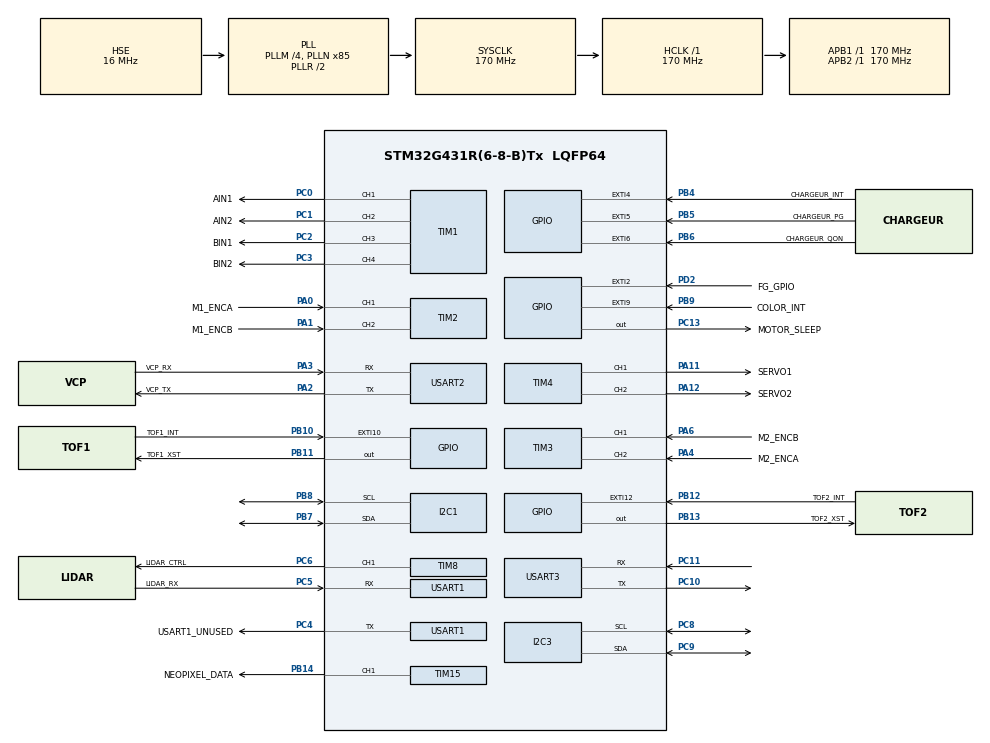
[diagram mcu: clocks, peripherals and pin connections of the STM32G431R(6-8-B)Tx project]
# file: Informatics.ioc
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Dma.Request0=TIM15_CH1
Dma.TIM15_CH1.0.Direction=DMA_MEMORY_TO_PERIPH
Dma.TIM15_CH1.0.EventEnable=DISABLE
Dma.TIM15_CH1.0.Instance=DMA1_Channel1
Dma.TIM15_CH1.0.MemDataAlignment=DMA_MDATAALIGN_HALFWORD
Dma.TIM15_CH1.0.MemInc=DMA_MINC_ENABLE
Dma.TIM15_CH1.0.Mode=DMA_NORMAL
Dma.TIM15_CH1.0.PeriphDataAlignment=DMA_PDATAALIGN_HALFWORD
Dma.TIM15_CH1.0.PeriphInc=DMA_PINC_DISABLE
Dma.TIM15_CH1.0.Polarity=HAL_DMAMUX_REQ_GEN_RISING
Dma.TIM15_CH1.0.Priority=DMA_PRIORITY_LOW
Dma.TIM15_CH1.0.RequestNumber=1
Dma.TIM15_CH1.0.SignalID=NONE
Dma.TIM15_CH1.0.SyncEnable=DISABLE
Dma.TIM15_CH1.0.SyncPolarity=HAL_DMAMUX_SYNC_NO_EVENT
Dma.TIM15_CH1.0.SyncRequestNumber=1
Dma.TIM15_CH1.0.SyncSignalID=NONE
FREERTOS.Tasks01=defaultTask,0,128,StartDefaultTask,Default,NULL,Dynamic,NULL,NULL
FREERTOS.configCHECK_FOR_STACK_OVERFLOW=2
FREERTOS.configTOTAL_HEAP_SIZE=15360
FREERTOS.configUSE_MALLOC_FAILED_HOOK=1
I2C1.Timing=0x40B285C2
I2C3.Timing=0x40B285C2
Mcu.Family=STM32G4
Mcu.Name=STM32G431R(6-8-B)Tx
Mcu.Package=LQFP64
NVIC.DMA1_Channel1_IRQn=true\:5\:0\:false\:false\:true\:true\:false\:true\:true
NVIC.PriorityGroup=NVIC_PRIORITYGROUP_4
NVIC.TIM6_DAC_IRQn=true\:15\:0\:false\:false\:true\:false\:false\:true\:true
NVIC.TimeBase=TIM6_DAC_IRQn
NVIC.TimeBaseIP=TIM6
NVIC.USART2_IRQn=true\:5\:0\:false\:false\:true\:true\:true\:true\:true
PA0.GPIO_Label=M1_ENCA
PA0.Signal=S_TIM2_CH1
PA1.GPIO_Label=M1_ENCB
PA1.Signal=S_TIM2_CH2
PA11.GPIO_Label=SERVO1
PA11.Signal=S_TIM4_CH1
PA12.GPIO_Label=SERVO2
PA12.Signal=S_TIM4_CH2
PA13.Mode=Trace_Asynchronous_SW
PA13.Signal=SYS_JTMS-SWDIO
PA14.Mode=Trace_Asynchronous_SW
PA14.Signal=SYS_JTCK-SWCLK
PA2.GPIO_Label=VCP_TX
PA2.Mode=Asynchronous
PA2.Signal=USART2_TX
PA3.GPIO_Label=VCP_RX
PA3.Mode=Asynchronous
PA3.Signal=USART2_RX
PA4.GPIO_Label=M2_ENCA
PA4.Signal=S_TIM3_CH2
PA6.GPIO_Label=M2_ENCB
PA6.Signal=S_TIM3_CH1
PB10.GPIO_Label=TOF1_INT
PB10.Signal=GPXTI10
PB11.GPIO_Label=TOF1_XST
PB11.Signal=GPIO_Output
PB12.GPIO_Label=TOF2_INT
PB12.Signal=GPXTI12
PB13.GPIO_Label=TOF2_XST
PB13.Signal=GPIO_Output
PB14.GPIO_Label=NEOPIXEL_DATA
PB14.Signal=S_TIM15_CH1
PB3.Mode=Trace_Asynchronous_SW
PB3.Signal=SYS_JTDO-SWO
PB4.GPIO_Label=CHARGEUR_INT
PB4.Signal=GPXTI4
PB5.GPIO_Label=CHARGEUR_PG
PB5.Signal=GPXTI5
PB6.GPIO_Label=CHARGEUR_QON
PB6.Signal=GPXTI6
PB7.Mode=I2C
PB7.Signal=I2C1_SDA
PB8-BOOT0.Mode=I2C
PB8-BOOT0.Signal=I2C1_SCL
PB9.GPIO_Label=COLOR_INT
PB9.Signal=GPXTI9
PC0.GPIO_Label=AIN1
PC0.Signal=S_TIM1_CH1
PC1.GPIO_Label=AIN2
PC1.Signal=S_TIM1_CH2
PC10.Mode=Asynchronous
PC10.Signal=USART3_TX
PC11.Mode=Asynchronous
PC11.Signal=USART3_RX
PC13.GPIO_Label=MOTOR_SLEEP
PC13.Signal=GPIO_Output
PC2.GPIO_Label=BIN1
PC2.Signal=S_TIM1_CH3
PC3.GPIO_Label=BIN2
PC3.Signal=S_TIM1_CH4
PC4.GPIO_Label=USART1_UNUSED
PC4.Mode=Asynchronous
PC4.Signal=USART1_TX
PC5.GPIO_Label=LIDAR_RX
PC5.Mode=Asynchronous
PC5.Signal=USART1_RX
PC6.GPIO_Label=LIDAR_CTRL
PC6.Signal=S_TIM8_CH1
PC8.Mode=I2C
PC8.Signal=I2C3_SCL
PC9.Mode=I2C
PC9.Signal=I2C3_SDA
PD2.GPIO_Label=FG_GPIO
PD2.Signal=GPXTI2
PF0-OSC_IN.Mode=HSE-External-Oscillator
PF0-OSC_IN.Signal=RCC_OSC_IN
PF1-OSC_OUT.Mode=HSE-External-Oscillator
PF1-OSC_OUT.Signal=RCC_OSC_OUT
ProjectManager.HeapSize=0x200
ProjectManager.StackSize=0x400
ProjectManager.TargetToolchain=CMake
RCC.ADC12Freq_Value=170000000
RCC.AHBFreq_Value=170000000
RCC.APB1Freq_Value=170000000
RCC.APB1TimFreq_Value=170000000
RCC.APB2Freq_Value=170000000
RCC.APB2TimFreq_Value=170000000
RCC.CortexFreq_Value=170000000
RCC.EXTERNAL_CLOCK_VALUE=12288000
RCC.HCLKFreq_Value=170000000
RCC.HSE_VALUE=16000000
RCC.HSI48_VALUE=48000000
RCC.HSI_VALUE=16000000
RCC.LSE_VALUE=32768
RCC.PLLM=RCC_PLLM_DIV4
RCC.PLLN=85
RCC.PLLSourceVirtual=RCC_PLLSOURCE_HSE
RCC.SYSCLKFreq_VALUE=170000000
RCC.SYSCLKSource=RCC_SYSCLKSOURCE_PLLCLK
RCC.USBFreq_Value=170000000
RCC.VCOOutputFreq_Value=340000000
SH.S_TIM15_CH1.0=TIM15_CH1,PWM Generation1 CH1
SH.S_TIM1_CH1.0=TIM1_CH1,PWM Generation1 CH1
SH.S_TIM1_CH2.0=TIM1_CH2,PWM Generation2 CH2
SH.S_TIM1_CH3.0=TIM1_CH3,PWM Generation3 CH3
SH.S_TIM1_CH4.0=TIM1_CH4,PWM Generation4 CH4
SH.S_TIM2_CH1.0=TIM2_CH1,Encoder_Interface
SH.S_TIM2_CH2.0=TIM2_CH2,Encoder_Interface
SH.S_TIM3_CH1.0=TIM3_CH1,Encoder_Interface
SH.S_TIM3_CH2.0=TIM3_CH2,Encoder_Interface
SH.S_TIM4_CH1.0=TIM4_CH1,PWM Generation1 CH1
SH.S_TIM4_CH2.0=TIM4_CH2,PWM Generation2 CH2
SH.S_TIM8_CH1.0=TIM8_CH1,PWM Generation1 CH1
TIM1.Channel-PWM\ Generation1\ CH1=TIM_CHANNEL_1
TIM1.Channel-PWM\ Generation2\ CH2=TIM_CHANNEL_2
TIM1.Channel-PWM\ Generation3\ CH3=TIM_CHANNEL_3
TIM1.Channel-PWM\ Generation4\ CH4=TIM_CHANNEL_4
TIM15.Channel-PWM\ Generation1\ CH1=TIM_CHANNEL_1
TIM4.Channel-PWM\ Generation1\ CH1=TIM_CHANNEL_1
TIM4.Channel-PWM\ Generation2\ CH2=TIM_CHANNEL_2
TIM8.Channel-PWM\ Generation1\ CH1=TIM_CHANNEL_1
USART1.VirtualMode-Asynchronous=VM_ASYNC
USART2.VirtualMode-Asynchronous=VM_ASYNC
USART3.VirtualMode-Asynchronous=VM_ASYNC
VP_FREERTOS_VS_CMSIS_V1.Mode=CMSIS_V1
VP_SYS_VS_DBSignals.Mode=DisableDeadBatterySignals
VP_SYS_VS_tim6.Mode=TIM6
VP_TIM15_VS_ClockSourceINT.Mode=Internal
VP_TIM1_VS_ClockSourceINT.Mode=Internal
VP_TIM4_VS_ClockSourceINT.Mode=Internal
VP_TIM8_VS_ClockSourceINT.Mode=Internal
board=custom

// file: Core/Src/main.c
/* USER CODE BEGIN Header */
/**
 ******************************************************************************
 * @file           : main.c
 * @brief          : Main program body
 ******************************************************************************
 * @attention
 *
 * Copyright (c) 2026 STMicroelectronics.
 * All rights reserved.
 *
 * This software is licensed under terms that can be found in the LICENSE file
 * in the root directory of this software component.
 * If no LICENSE file comes with this software, it is provided AS-IS.
 *
 ******************************************************************************
 */
/* USER CODE END Header */
#include "main.h"
#include "cmsis_os.h"

/* USER CODE BEGIN Includes */
#include <stdio.h>
#include <stdarg.h>
#include <string.h>
#include "power.h"
#include "battery.h"
#include "motor.h"
#include "uart_console.h"
#include "shell.h"
#include "ota.h"
#include "ota_protocol.h"
/* USER CODE END Includes */

I2C_HandleTypeDef hi2c1;
I2C_HandleTypeDef hi2c3;

TIM_HandleTypeDef htim1;
TIM_HandleTypeDef htim2;
TIM_HandleTypeDef htim3;
TIM_HandleTypeDef htim4;
TIM_HandleTypeDef htim8;
TIM_HandleTypeDef htim15;
DMA_HandleTypeDef hdma_tim15_ch1;

UART_HandleTypeDef huart1;
UART_HandleTypeDef huart2;
UART_HandleTypeDef huart3;

osThreadId defaultTaskHandle;

void SystemClock_Config(void);
static void MX_GPIO_Init(void);
static void MX_DMA_Init(void);
static void MX_I2C1_Init(void);
static void MX_I2C3_Init(void);
static void MX_TIM2_Init(void);
static void MX_TIM3_Init(void);
static void MX_USART1_UART_Init(void);
static void MX_USART2_UART_Init(void);
static void MX_USART3_UART_Init(void);
static void MX_TIM1_Init(void);
static void MX_TIM4_Init(void);
static void MX_TIM8_Init(void);
static void MX_TIM15_Init(void);
void StartDefaultTask(void const * argument);

/* USER CODE BEGIN PFP */
void App_FreeRTOS_Start(void);
/* USER CODE END PFP */

/* USER CODE BEGIN 0 */
static void console_tx_all(const uint8_t *data, uint16_t len)
{
	HAL_UART_Transmit(&huart2, (uint8_t *)data, len, HAL_MAX_DELAY);
	HAL_UART_Transmit(&huart3, (uint8_t *)data, len, HAL_MAX_DELAY);
}

int __io_putchar(int ch)
{
	uint8_t c = (uint8_t)ch;
	console_tx_all(&c, 1);
	return ch;
}

int _write(int file, char *ptr, int len) {
	(void)file;
	if (ptr != NULL && len > 0) {
		console_tx_all((const uint8_t *)ptr, (uint16_t)len);
	}
	return len;
}

void uart3_printf(const char *format, ...)
{
    char buffer[128]; // Ajustez la taille selon la longueur max de vos messages
    va_list args;

    va_start(args, format);
    int len = vsnprintf(buffer, sizeof(buffer), format, args);
    va_end(args);

    if (len > 0) {
        // S'assurer de ne pas dépasser la taille du buffer en cas de troncature
        uint16_t tx_len = (len < sizeof(buffer)) ? len : (sizeof(buffer) - 1);
        HAL_UART_Transmit(&huart3, (uint8_t *)buffer, tx_len, HAL_MAX_DELAY);
    }
}

/* USER CODE END 0 */

int main(void)
{

  /* USER CODE BEGIN 1 */
  SCB->VTOR = OTA_APP_ADDR;
  /* USER CODE END 1 */

  /* MCU Configuration--------------------------------------------------------*/

  /* Reset of all peripherals, Initializes the Flash interface and the Systick. */
  HAL_Init();

  /* Configure the system clock */
  SystemClock_Config();

  /* Initialize all configured peripherals */
  MX_GPIO_Init();
  MX_DMA_Init();
  MX_I2C1_Init();
  MX_I2C3_Init();
  MX_TIM2_Init();
  MX_TIM3_Init();
  MX_USART1_UART_Init();
  MX_USART2_UART_Init();
  MX_USART3_UART_Init();
  MX_TIM1_Init();
  MX_TIM4_Init();
  MX_TIM8_Init();
  MX_TIM15_Init();
  /* USER CODE BEGIN 2 */
  uart3_printf("Salut : %d\r\n", 42);
	// 1. Initialisation du sous-système Power (Chargeur / Boost BQ25896)
	if (!power_init(&hi2c3)) {
		printf("[POWER] Erreur : BQ25896 non detecte sur I2C3\r\n");
	}
	else {
		printf("[POWER] BQ25896 detecte et initialise avec succes !\r\n");

		// Activation de la sortie 5V Boost (OTG)
		if (power_enable_5v_boost()) {
			printf("[POWER] Sortie 5V Boost activee avec succes !\r\n");
			power_print_diagnostics();
		}
		else {
			printf("[POWER] Erreur lors de l'activation du mode Boost 5V\r\n");
		}
	}

	// 2. Initialisation de la Jauge de batterie (Fuel Gauge BQ27220)
	if (!battery_init(&hi2c3)) {
		printf("[BATTERY] Erreur : BQ27220 non detecte sur I2C3\r\n");
	}
	else {
		printf("[BATTERY] BQ27220 detecte et initialise avec succes !\r\n");
		battery_print_diagnostics();
	}
	// 3. Démarrage de la PWM sur PB14 (TIM15 CH1, 1 kHz, rapport cyclique 50%)
	HAL_TIM_PWM_Start(&htim15, TIM_CHANNEL_1);

	__HAL_TIM_SET_AUTORELOAD(&htim1, 8499);   // PWM ~20 kHz
	if (!motor_init(&htim1, &htim2, &htim3)) {
		printf("[MOTOR] Erreur d'initialisation\r\n");
	} else {
		printf("[MOTOR] Moteurs initialises\r\n");
	}
	uart_console_init(&huart2);
	shell_init();
	ota_init(&huart3);
	App_FreeRTOS_Start();
	//	if (power_enable_charge(1000, 1500)) {
	//	    printf("[POWER] Charge de la batterie activee avec succes !\r\n");
	//	    power_print_diagnostics();
	//	} else {
	//	    printf("[POWER] Erreur lors de l'activation de la charge\r\n");
	//	}

  /* USER CODE END 2 */

  /* Create the thread(s) */
  /* definition and creation of defaultTask */
  osThreadDef(defaultTask, StartDefaultTask, osPriorityNormal, 0, 128);
  defaultTaskHandle = osThreadCreate(osThread(defaultTask), NULL);

  /* Start scheduler */
  osKernelStart();

  /* We should never get here as control is now taken by the scheduler */

  /* Infinite loop */
  /* USER CODE BEGIN WHILE */
	while (1)
	{
		//		motor_set_speed(MOTOR_1, 400);
		//		    for (int i = 0; i < 6; i++) { HAL_Delay(500); motor_print_diagnostics(); }
		//
		//		    motor_stop(MOTOR_1);
		//		    HAL_Delay(1000);
		//
		//		    motor_set_speed(MOTOR_1, -400);
		//		    for (int i = 0; i < 6; i++) { HAL_Delay(500); motor_print_diagnostics(); }
		//
		//		    motor_brake(MOTOR_1);
		//		    HAL_Delay(1000);
//		for (int16_t s = 500; s <= 1000; s += 50) {
//			printf("Vitesse = %d\r\n", s);
//			motor_set_speed(MOTOR_1, s);
//			motor_set_speed(MOTOR_2, s);
//			HAL_Delay(2000);
//			motor_print_diagnostics();   // regarde speed_tps : > 0 = le moteur tourne
//		}
//		motor_stop(MOTOR_1);
//		HAL_Delay(2000);
    /* USER CODE END WHILE */

    /* USER CODE BEGIN 3 */
		// Diagnostic périodique toutes les 3 secondes (optionnel)
	}
  /* USER CODE END 3 */
}

void SystemClock_Config(void)
{
  RCC_OscInitTypeDef RCC_OscInitStruct = {0};
  RCC_ClkInitTypeDef RCC_ClkInitStruct = {0};

  /** Configure the main internal regulator output voltage
  */
  HAL_PWREx_ControlVoltageScaling(PWR_REGULATOR_VOLTAGE_SCALE1_BOOST);

  /** Initializes the RCC Oscillators according to the specified parameters
  * in the RCC_OscInitTypeDef structure.
  */
  RCC_OscInitStruct.OscillatorType = RCC_OSCILLATORTYPE_HSE;
  RCC_OscInitStruct.HSEState = RCC_HSE_ON;
  RCC_OscInitStruct.PLL.PLLState = RCC_PLL_ON;
  RCC_OscInitStruct.PLL.PLLSource = RCC_PLLSOURCE_HSE;
  RCC_OscInitStruct.PLL.PLLM = RCC_PLLM_DIV4;
  RCC_OscInitStruct.PLL.PLLN = 85;
  RCC_OscInitStruct.PLL.PLLP = RCC_PLLP_DIV2;
  RCC_OscInitStruct.PLL.PLLQ = RCC_PLLQ_DIV2;
  RCC_OscInitStruct.PLL.PLLR = RCC_PLLR_DIV2;
  if (HAL_RCC_OscConfig(&RCC_OscInitStruct) != HAL_OK)
  {
    Error_Handler();
  }

  /** Initializes the CPU, AHB and APB buses clocks
  */
  RCC_ClkInitStruct.ClockType = RCC_CLOCKTYPE_HCLK|RCC_CLOCKTYPE_SYSCLK
                              |RCC_CLOCKTYPE_PCLK1|RCC_CLOCKTYPE_PCLK2;
  RCC_ClkInitStruct.SYSCLKSource = RCC_SYSCLKSOURCE_PLLCLK;
  RCC_ClkInitStruct.AHBCLKDivider = RCC_SYSCLK_DIV1;
  RCC_ClkInitStruct.APB1CLKDivider = RCC_HCLK_DIV1;
  RCC_ClkInitStruct.APB2CLKDivider = RCC_HCLK_DIV1;

  if (HAL_RCC_ClockConfig(&RCC_ClkInitStruct, FLASH_LATENCY_4) != HAL_OK)
  {
    Error_Handler();
  }
}

static void MX_I2C1_Init(void)
{

  hi2c1.Instance = I2C1;
  hi2c1.Init.Timing = 0x40B285C2;
  hi2c1.Init.OwnAddress1 = 0;
  hi2c1.Init.AddressingMode = I2C_ADDRESSINGMODE_7BIT;
  hi2c1.Init.DualAddressMode = I2C_DUALADDRESS_DISABLE;
  hi2c1.Init.OwnAddress2 = 0;
  hi2c1.Init.OwnAddress2Masks = I2C_OA2_NOMASK;
  hi2c1.Init.GeneralCallMode = I2C_GENERALCALL_DISABLE;
  hi2c1.Init.NoStretchMode = I2C_NOSTRETCH_DISABLE;
  if (HAL_I2C_Init(&hi2c1) != HAL_OK)
  {
    Error_Handler();
  }

  /** Configure Analogue filter
  */
  if (HAL_I2CEx_ConfigAnalogFilter(&hi2c1, I2C_ANALOGFILTER_ENABLE) != HAL_OK)
  {
    Error_Handler();
  }

  /** Configure Digital filter
  */
  if (HAL_I2CEx_ConfigDigitalFilter(&hi2c1, 0) != HAL_OK)
  {
    Error_Handler();
  }

}

static void MX_I2C3_Init(void)
{

  hi2c3.Instance = I2C3;
  hi2c3.Init.Timing = 0x40B285C2;
  hi2c3.Init.OwnAddress1 = 0;
  hi2c3.Init.AddressingMode = I2C_ADDRESSINGMODE_7BIT;
  hi2c3.Init.DualAddressMode = I2C_DUALADDRESS_DISABLE;
  hi2c3.Init.OwnAddress2 = 0;
  hi2c3.Init.OwnAddress2Masks = I2C_OA2_NOMASK;
  hi2c3.Init.GeneralCallMode = I2C_GENERALCALL_DISABLE;
  hi2c3.Init.NoStretchMode = I2C_NOSTRETCH_DISABLE;
  if (HAL_I2C_Init(&hi2c3) != HAL_OK)
  {
    Error_Handler();
  }

  /** Configure Analogue filter
  */
  if (HAL_I2CEx_ConfigAnalogFilter(&hi2c3, I2C_ANALOGFILTER_ENABLE) != HAL_OK)
  {
    Error_Handler();
  }

  /** Configure Digital filter
  */
  if (HAL_I2CEx_ConfigDigitalFilter(&hi2c3, 0) != HAL_OK)
  {
    Error_Handler();
  }

}

static void MX_TIM1_Init(void)
{

  TIM_ClockConfigTypeDef sClockSourceConfig = {0};
  TIM_MasterConfigTypeDef sMasterConfig = {0};
  TIM_OC_InitTypeDef sConfigOC = {0};
  TIM_BreakDeadTimeConfigTypeDef sBreakDeadTimeConfig = {0};

  htim1.Instance = TIM1;
  htim1.Init.Prescaler = 0;
  htim1.Init.CounterMode = TIM_COUNTERMODE_UP;
  htim1.Init.Period = 65535;
  htim1.Init.ClockDivision = TIM_CLOCKDIVISION_DIV1;
  htim1.Init.RepetitionCounter = 0;
  htim1.Init.AutoReloadPreload = TIM_AUTORELOAD_PRELOAD_DISABLE;
  if (HAL_TIM_Base_Init(&htim1) != HAL_OK)
  {
    Error_Handler();
  }
  sClockSourceConfig.ClockSource = TIM_CLOCKSOURCE_INTERNAL;
  if (HAL_TIM_ConfigClockSource(&htim1, &sClockSourceConfig) != HAL_OK)
  {
    Error_Handler();
  }
  if (HAL_TIM_PWM_Init(&htim1) != HAL_OK)
  {
    Error_Handler();
  }
  sMasterConfig.MasterOutputTrigger = TIM_TRGO_RESET;
  sMasterConfig.MasterOutputTrigger2 = TIM_TRGO2_RESET;
  sMasterConfig.MasterSlaveMode = TIM_MASTERSLAVEMODE_DISABLE;
  if (HAL_TIMEx_MasterConfigSynchronization(&htim1, &sMasterConfig) != HAL_OK)
  {
    Error_Handler();
  }
  sConfigOC.OCMode = TIM_OCMODE_PWM1;
  sConfigOC.Pulse = 0;
  sConfigOC.OCPolarity = TIM_OCPOLARITY_HIGH;
  sConfigOC.OCNPolarity = TIM_OCNPOLARITY_HIGH;
  sConfigOC.OCFastMode = TIM_OCFAST_DISABLE;
  sConfigOC.OCIdleState = TIM_OCIDLESTATE_RESET;
  sConfigOC.OCNIdleState = TIM_OCNIDLESTATE_RESET;
  if (HAL_TIM_PWM_ConfigChannel(&htim1, &sConfigOC, TIM_CHANNEL_1) != HAL_OK)
  {
    Error_Handler();
  }
  if (HAL_TIM_PWM_ConfigChannel(&htim1, &sConfigOC, TIM_CHANNEL_2) != HAL_OK)
  {
    Error_Handler();
  }
  if (HAL_TIM_PWM_ConfigChannel(&htim1, &sConfigOC, TIM_CHANNEL_3) != HAL_OK)
  {
    Error_Handler();
  }
  if (HAL_TIM_PWM_ConfigChannel(&htim1, &sConfigOC, TIM_CHANNEL_4) != HAL_OK)
  {
    Error_Handler();
  }
  sBreakDeadTimeConfig.OffStateRunMode = TIM_OSSR_DISABLE;
  sBreakDeadTimeConfig.OffStateIDLEMode = TIM_OSSI_DISABLE;
  sBreakDeadTimeConfig.LockLevel = TIM_LOCKLEVEL_OFF;
  sBreakDeadTimeConfig.DeadTime = 0;
  sBreakDeadTimeConfig.BreakState = TIM_BREAK_DISABLE;
  sBreakDeadTimeConfig.BreakPolarity = TIM_BREAKPOLARITY_HIGH;
  sBreakDeadTimeConfig.BreakFilter = 0;
  sBreakDeadTimeConfig.BreakAFMode = TIM_BREAK_AFMODE_INPUT;
  sBreakDeadTimeConfig.Break2State = TIM_BREAK2_DISABLE;
  sBreakDeadTimeConfig.Break2Polarity = TIM_BREAK2POLARITY_HIGH;
  sBreakDeadTimeConfig.Break2Filter = 0;
  sBreakDeadTimeConfig.Break2AFMode = TIM_BREAK_AFMODE_INPUT;
  sBreakDeadTimeConfig.AutomaticOutput = TIM_AUTOMATICOUTPUT_DISABLE;
  if (HAL_TIMEx_ConfigBreakDeadTime(&htim1, &sBreakDeadTimeConfig) != HAL_OK)
  {
    Error_Handler();
  }
  HAL_TIM_MspPostInit(&htim1);

}

static void MX_TIM2_Init(void)
{

  TIM_Encoder_InitTypeDef sConfig = {0};
  TIM_MasterConfigTypeDef sMasterConfig = {0};

  htim2.Instance = TIM2;
  htim2.Init.Prescaler = 0;
  htim2.Init.CounterMode = TIM_COUNTERMODE_UP;
  htim2.Init.Period = 4294967295;
  htim2.Init.ClockDivision = TIM_CLOCKDIVISION_DIV1;
  htim2.Init.AutoReloadPreload = TIM_AUTORELOAD_PRELOAD_DISABLE;
  sConfig.EncoderMode = TIM_ENCODERMODE_TI1;
  sConfig.IC1Polarity = TIM_ICPOLARITY_RISING;
  sConfig.IC1Selection = TIM_ICSELECTION_DIRECTTI;
  sConfig.IC1Prescaler = TIM_ICPSC_DIV1;
  sConfig.IC1Filter = 0;
  sConfig.IC2Polarity = TIM_ICPOLARITY_RISING;
  sConfig.IC2Selection = TIM_ICSELECTION_DIRECTTI;
  sConfig.IC2Prescaler = TIM_ICPSC_DIV1;
  sConfig.IC2Filter = 0;
  if (HAL_TIM_Encoder_Init(&htim2, &sConfig) != HAL_OK)
  {
    Error_Handler();
  }
  sMasterConfig.MasterOutputTrigger = TIM_TRGO_RESET;
  sMasterConfig.MasterSlaveMode = TIM_MASTERSLAVEMODE_DISABLE;
  if (HAL_TIMEx_MasterConfigSynchronization(&htim2, &sMasterConfig) != HAL_OK)
  {
    Error_Handler();
  }

}

static void MX_TIM3_Init(void)
{

  TIM_Encoder_InitTypeDef sConfig = {0};
  TIM_MasterConfigTypeDef sMasterConfig = {0};

  htim3.Instance = TIM3;
  htim3.Init.Prescaler = 0;
  htim3.Init.CounterMode = TIM_COUNTERMODE_UP;
  htim3.Init.Period = 65535;
  htim3.Init.ClockDivision = TIM_CLOCKDIVISION_DIV1;
  htim3.Init.AutoReloadPreload = TIM_AUTORELOAD_PRELOAD_DISABLE;
  sConfig.EncoderMode = TIM_ENCODERMODE_TI1;
  sConfig.IC1Polarity = TIM_ICPOLARITY_RISING;
  sConfig.IC1Selection = TIM_ICSELECTION_DIRECTTI;
  sConfig.IC1Prescaler = TIM_ICPSC_DIV1;
  sConfig.IC1Filter = 0;
  sConfig.IC2Polarity = TIM_ICPOLARITY_RISING;
  sConfig.IC2Selection = TIM_ICSELECTION_DIRECTTI;
  sConfig.IC2Prescaler = TIM_ICPSC_DIV1;
  sConfig.IC2Filter = 0;
  if (HAL_TIM_Encoder_Init(&htim3, &sConfig) != HAL_OK)
  {
    Error_Handler();
  }
  sMasterConfig.MasterOutputTrigger = TIM_TRGO_RESET;
  sMasterConfig.MasterSlaveMode = TIM_MASTERSLAVEMODE_DISABLE;
  if (HAL_TIMEx_MasterConfigSynchronization(&htim3, &sMasterConfig) != HAL_OK)
  {
    Error_Handler();
  }

}

static void MX_TIM4_Init(void)
{

  TIM_ClockConfigTypeDef sClockSourceConfig = {0};
  TIM_MasterConfigTypeDef sMasterConfig = {0};
  TIM_OC_InitTypeDef sConfigOC = {0};

  htim4.Instance = TIM4;
  htim4.Init.Prescaler = 0;
  htim4.Init.CounterMode = TIM_COUNTERMODE_UP;
  htim4.Init.Period = 65535;
  htim4.Init.ClockDivision = TIM_CLOCKDIVISION_DIV1;
  htim4.Init.AutoReloadPreload = TIM_AUTORELOAD_PRELOAD_DISABLE;
  if (HAL_TIM_Base_Init(&htim4) != HAL_OK)
  {
    Error_Handler();
  }
  sClockSourceConfig.ClockSource = TIM_CLOCKSOURCE_INTERNAL;
  if (HAL_TIM_ConfigClockSource(&htim4, &sClockSourceConfig) != HAL_OK)
  {
    Error_Handler();
  }
  if (HAL_TIM_PWM_Init(&htim4) != HAL_OK)
  {
    Error_Handler();
  }
  sMasterConfig.MasterOutputTrigger = TIM_TRGO_RESET;
  sMasterConfig.MasterSlaveMode = TIM_MASTERSLAVEMODE_DISABLE;
  if (HAL_TIMEx_MasterConfigSynchronization(&htim4, &sMasterConfig) != HAL_OK)
  {
    Error_Handler();
  }
  sConfigOC.OCMode = TIM_OCMODE_PWM1;
  sConfigOC.Pulse = 0;
  sConfigOC.OCPolarity = TIM_OCPOLARITY_HIGH;
  sConfigOC.OCFastMode = TIM_OCFAST_DISABLE;
  if (HAL_TIM_PWM_ConfigChannel(&htim4, &sConfigOC, TIM_CHANNEL_1) != HAL_OK)
  {
    Error_Handler();
  }
  if (HAL_TIM_PWM_ConfigChannel(&htim4, &sConfigOC, TIM_CHANNEL_2) != HAL_OK)
  {
    Error_Handler();
  }
  HAL_TIM_MspPostInit(&htim4);

}

static void MX_TIM8_Init(void)
{

  TIM_ClockConfigTypeDef sClockSourceConfig = {0};
  TIM_MasterConfigTypeDef sMasterConfig = {0};
  TIM_OC_InitTypeDef sConfigOC = {0};
  TIM_BreakDeadTimeConfigTypeDef sBreakDeadTimeConfig = {0};

  htim8.Instance = TIM8;
  htim8.Init.Prescaler = 0;
  htim8.Init.CounterMode = TIM_COUNTERMODE_UP;
  htim8.Init.Period = 65535;
  htim8.Init.ClockDivision = TIM_CLOCKDIVISION_DIV1;
  htim8.Init.RepetitionCounter = 0;
  htim8.Init.AutoReloadPreload = TIM_AUTORELOAD_PRELOAD_DISABLE;
  if (HAL_TIM_Base_Init(&htim8) != HAL_OK)
  {
    Error_Handler();
  }
  sClockSourceConfig.ClockSource = TIM_CLOCKSOURCE_INTERNAL;
  if (HAL_TIM_ConfigClockSource(&htim8, &sClockSourceConfig) != HAL_OK)
  {
    Error_Handler();
  }
  if (HAL_TIM_PWM_Init(&htim8) != HAL_OK)
  {
    Error_Handler();
  }
  sMasterConfig.MasterOutputTrigger = TIM_TRGO_RESET;
  sMasterConfig.MasterOutputTrigger2 = TIM_TRGO2_RESET;
  sMasterConfig.MasterSlaveMode = TIM_MASTERSLAVEMODE_DISABLE;
  if (HAL_TIMEx_MasterConfigSynchronization(&htim8, &sMasterConfig) != HAL_OK)
  {
    Error_Handler();
  }
  sConfigOC.OCMode = TIM_OCMODE_PWM1;
  sConfigOC.Pulse = 0;
  sConfigOC.OCPolarity = TIM_OCPOLARITY_HIGH;
  sConfigOC.OCNPolarity = TIM_OCNPOLARITY_HIGH;
  sConfigOC.OCFastMode = TIM_OCFAST_DISABLE;
  sConfigOC.OCIdleState = TIM_OCIDLESTATE_RESET;
  sConfigOC.OCNIdleState = TIM_OCNIDLESTATE_RESET;
  if (HAL_TIM_PWM_ConfigChannel(&htim8, &sConfigOC, TIM_CHANNEL_1) != HAL_OK)
  {
    Error_Handler();
  }
  sBreakDeadTimeConfig.OffStateRunMode = TIM_OSSR_DISABLE;
  sBreakDeadTimeConfig.OffStateIDLEMode = TIM_OSSI_DISABLE;
  sBreakDeadTimeConfig.LockLevel = TIM_LOCKLEVEL_OFF;
  sBreakDeadTimeConfig.DeadTime = 0;
  sBreakDeadTimeConfig.BreakState = TIM_BREAK_DISABLE;
  sBreakDeadTimeConfig.BreakPolarity = TIM_BREAKPOLARITY_HIGH;
  sBreakDeadTimeConfig.BreakFilter = 0;
  sBreakDeadTimeConfig.BreakAFMode = TIM_BREAK_AFMODE_INPUT;
  sBreakDeadTimeConfig.Break2State = TIM_BREAK2_DISABLE;
  sBreakDeadTimeConfig.Break2Polarity = TIM_BREAK2POLARITY_HIGH;
  sBreakDeadTimeConfig.Break2Filter = 0;
  sBreakDeadTimeConfig.Break2AFMode = TIM_BREAK_AFMODE_INPUT;
  sBreakDeadTimeConfig.AutomaticOutput = TIM_AUTOMATICOUTPUT_DISABLE;
  if (HAL_TIMEx_ConfigBreakDeadTime(&htim8, &sBreakDeadTimeConfig) != HAL_OK)
  {
    Error_Handler();
  }
  HAL_TIM_MspPostInit(&htim8);

}

static void MX_TIM15_Init(void)
{

  TIM_ClockConfigTypeDef sClockSourceConfig = {0};
  TIM_MasterConfigTypeDef sMasterConfig = {0};
  TIM_OC_InitTypeDef sConfigOC = {0};
  TIM_BreakDeadTimeConfigTypeDef sBreakDeadTimeConfig = {0};

  htim15.Instance = TIM15;
  htim15.Init.Prescaler = 0;
  htim15.Init.CounterMode = TIM_COUNTERMODE_UP;
  htim15.Init.Period = 65535;
  htim15.Init.ClockDivision = TIM_CLOCKDIVISION_DIV1;
  htim15.Init.RepetitionCounter = 0;
  htim15.Init.AutoReloadPreload = TIM_AUTORELOAD_PRELOAD_DISABLE;
  if (HAL_TIM_Base_Init(&htim15) != HAL_OK)
  {
    Error_Handler();
  }
  sClockSourceConfig.ClockSource = TIM_CLOCKSOURCE_INTERNAL;
  if (HAL_TIM_ConfigClockSource(&htim15, &sClockSourceConfig) != HAL_OK)
  {
    Error_Handler();
  }
  if (HAL_TIM_PWM_Init(&htim15) != HAL_OK)
  {
    Error_Handler();
  }
  sMasterConfig.MasterOutputTrigger = TIM_TRGO_RESET;
  sMasterConfig.MasterSlaveMode = TIM_MASTERSLAVEMODE_DISABLE;
  if (HAL_TIMEx_MasterConfigSynchronization(&htim15, &sMasterConfig) != HAL_OK)
  {
    Error_Handler();
  }
  sConfigOC.OCMode = TIM_OCMODE_PWM1;
  sConfigOC.Pulse = 0;
  sConfigOC.OCPolarity = TIM_OCPOLARITY_HIGH;
  sConfigOC.OCNPolarity = TIM_OCNPOLARITY_HIGH;
  sConfigOC.OCFastMode = TIM_OCFAST_DISABLE;
  sConfigOC.OCIdleState = TIM_OCIDLESTATE_RESET;
  sConfigOC.OCNIdleState = TIM_OCNIDLESTATE_RESET;
  if (HAL_TIM_PWM_ConfigChannel(&htim15, &sConfigOC, TIM_CHANNEL_1) != HAL_OK)
  {
    Error_Handler();
  }
  sBreakDeadTimeConfig.OffStateRunMode = TIM_OSSR_DISABLE;
  sBreakDeadTimeConfig.OffStateIDLEMode = TIM_OSSI_DISABLE;
  sBreakDeadTimeConfig.LockLevel = TIM_LOCKLEVEL_OFF;
  sBreakDeadTimeConfig.DeadTime = 0;
  sBreakDeadTimeConfig.BreakState = TIM_BREAK_DISABLE;
  sBreakDeadTimeConfig.BreakPolarity = TIM_BREAKPOLARITY_HIGH;
  sBreakDeadTimeConfig.BreakFilter = 0;
  sBreakDeadTimeConfig.AutomaticOutput = TIM_AUTOMATICOUTPUT_DISABLE;
  if (HAL_TIMEx_ConfigBreakDeadTime(&htim15, &sBreakDeadTimeConfig) != HAL_OK)
  {
    Error_Handler();
  }
  HAL_TIM_MspPostInit(&htim15);

}

static void MX_USART1_UART_Init(void)
{

  huart1.Instance = USART1;
  huart1.Init.BaudRate = 115200;
  huart1.Init.WordLength = UART_WORDLENGTH_8B;
  huart1.Init.StopBits = UART_STOPBITS_1;
  huart1.Init.Parity = UART_PARITY_NONE;
  huart1.Init.Mode = UART_MODE_TX_RX;
  huart1.Init.HwFlowCtl = UART_HWCONTROL_NONE;
  huart1.Init.OverSampling = UART_OVERSAMPLING_16;
  huart1.Init.OneBitSampling = UART_ONE_BIT_SAMPLE_DISABLE;
  huart1.Init.ClockPrescaler = UART_PRESCALER_DIV1;
  huart1.AdvancedInit.AdvFeatureInit = UART_ADVFEATURE_NO_INIT;
  if (HAL_UART_Init(&huart1) != HAL_OK)
  {
    Error_Handler();
  }
  if (HAL_UARTEx_SetTxFifoThreshold(&huart1, UART_TXFIFO_THRESHOLD_1_8) != HAL_OK)
  {
    Error_Handler();
  }
  if (HAL_UARTEx_SetRxFifoThreshold(&huart1, UART_RXFIFO_THRESHOLD_1_8) != HAL_OK)
  {
    Error_Handler();
  }
  if (HAL_UARTEx_DisableFifoMode(&huart1) != HAL_OK)
  {
    Error_Handler();
  }

}

static void MX_USART2_UART_Init(void)
{

  huart2.Instance = USART2;
  huart2.Init.BaudRate = 115200;
  huart2.Init.WordLength = UART_WORDLENGTH_8B;
  huart2.Init.StopBits = UART_STOPBITS_1;
  huart2.Init.Parity = UART_PARITY_NONE;
  huart2.Init.Mode = UART_MODE_TX_RX;
  huart2.Init.HwFlowCtl = UART_HWCONTROL_NONE;
  huart2.Init.OverSampling = UART_OVERSAMPLING_16;
  huart2.Init.OneBitSampling = UART_ONE_BIT_SAMPLE_DISABLE;
  huart2.Init.ClockPrescaler = UART_PRESCALER_DIV1;
  huart2.AdvancedInit.AdvFeatureInit = UART_ADVFEATURE_NO_INIT;
  if (HAL_UART_Init(&huart2) != HAL_OK)
  {
    Error_Handler();
  }
  if (HAL_UARTEx_SetTxFifoThreshold(&huart2, UART_TXFIFO_THRESHOLD_1_8) != HAL_OK)
  {
    Error_Handler();
  }
  if (HAL_UARTEx_SetRxFifoThreshold(&huart2, UART_RXFIFO_THRESHOLD_1_8) != HAL_OK)
  {
    Error_Handler();
  }
  if (HAL_UARTEx_DisableFifoMode(&huart2) != HAL_OK)
  {
    Error_Handler();
  }

}

static void MX_USART3_UART_Init(void)
{

  huart3.Instance = USART3;
  huart3.Init.BaudRate = 115200;
  huart3.Init.WordLength = UART_WORDLENGTH_8B;
  huart3.Init.StopBits = UART_STOPBITS_1;
  huart3.Init.Parity = UART_PARITY_NONE;
  huart3.Init.Mode = UART_MODE_TX_RX;
  huart3.Init.HwFlowCtl = UART_HWCONTROL_NONE;
  huart3.Init.OverSampling = UART_OVERSAMPLING_16;
  huart3.Init.OneBitSampling = UART_ONE_BIT_SAMPLE_DISABLE;
  huart3.Init.ClockPrescaler = UART_PRESCALER_DIV1;
  huart3.AdvancedInit.AdvFeatureInit = UART_ADVFEATURE_NO_INIT;
  if (HAL_UART_Init(&huart3) != HAL_OK)
  {
    Error_Handler();
  }
  if (HAL_UARTEx_SetTxFifoThreshold(&huart3, UART_TXFIFO_THRESHOLD_1_8) != HAL_OK)
  {
    Error_Handler();
  }
  if (HAL_UARTEx_SetRxFifoThreshold(&huart3, UART_RXFIFO_THRESHOLD_1_8) != HAL_OK)
  {
    Error_Handler();
  }
  if (HAL_UARTEx_DisableFifoMode(&huart3) != HAL_OK)
  {
    Error_Handler();
  }

}

static void MX_DMA_Init(void)
{

  /* DMA controller clock enable */
  __HAL_RCC_DMAMUX1_CLK_ENABLE();
  __HAL_RCC_DMA1_CLK_ENABLE();

  /* DMA interrupt init */
  /* DMA1_Channel1_IRQn interrupt configuration */
  HAL_NVIC_SetPriority(DMA1_Channel1_IRQn, 5, 0);
  HAL_NVIC_EnableIRQ(DMA1_Channel1_IRQn);

}

static void MX_GPIO_Init(void)
{
  GPIO_InitTypeDef GPIO_InitStruct = {0};

  /* GPIO Ports Clock Enable */
  __HAL_RCC_GPIOC_CLK_ENABLE();
  __HAL_RCC_GPIOF_CLK_ENABLE();
  __HAL_RCC_GPIOA_CLK_ENABLE();
  __HAL_RCC_GPIOB_CLK_ENABLE();
  __HAL_RCC_GPIOD_CLK_ENABLE();

  /*Configure GPIO pin Output Level */
  HAL_GPIO_WritePin(MOTOR_SLEEP_GPIO_Port, MOTOR_SLEEP_Pin, GPIO_PIN_RESET);

  /*Configure GPIO pin Output Level */
  HAL_GPIO_WritePin(GPIOB, TOF1_XST_Pin|TOF2_XST_Pin, GPIO_PIN_RESET);

  /*Configure GPIO pin : MOTOR_SLEEP_Pin */
  GPIO_InitStruct.Pin = MOTOR_SLEEP_Pin;
  GPIO_InitStruct.Mode = GPIO_MODE_OUTPUT_PP;
  GPIO_InitStruct.Pull = GPIO_NOPULL;
  GPIO_InitStruct.Speed = GPIO_SPEED_FREQ_LOW;
  HAL_GPIO_Init(MOTOR_SLEEP_GPIO_Port, &GPIO_InitStruct);

  /*Configure GPIO pins : TOF1_INT_Pin TOF2_INT_Pin CHARGEUR_INT_Pin CHARGEUR_PG_Pin
                           CHARGEUR_QON_Pin COLOR_INT_Pin */
  GPIO_InitStruct.Pin = TOF1_INT_Pin|TOF2_INT_Pin|CHARGEUR_INT_Pin|CHARGEUR_PG_Pin
                          |CHARGEUR_QON_Pin|COLOR_INT_Pin;
  GPIO_InitStruct.Mode = GPIO_MODE_IT_RISING;
  GPIO_InitStruct.Pull = GPIO_NOPULL;
  HAL_GPIO_Init(GPIOB, &GPIO_InitStruct);

  /*Configure GPIO pins : TOF1_XST_Pin TOF2_XST_Pin */
  GPIO_InitStruct.Pin = TOF1_XST_Pin|TOF2_XST_Pin;
  GPIO_InitStruct.Mode = GPIO_MODE_OUTPUT_PP;
  GPIO_InitStruct.Pull = GPIO_NOPULL;
  GPIO_InitStruct.Speed = GPIO_SPEED_FREQ_LOW;
  HAL_GPIO_Init(GPIOB, &GPIO_InitStruct);

  /*Configure GPIO pin : FG_GPIO_Pin */
  GPIO_InitStruct.Pin = FG_GPIO_Pin;
  GPIO_InitStruct.Mode = GPIO_MODE_IT_RISING;
  GPIO_InitStruct.Pull = GPIO_NOPULL;
  HAL_GPIO_Init(FG_GPIO_GPIO_Port, &GPIO_InitStruct);

}

void StartDefaultTask(void const * argument)
{
  for(;;)
  {
    osDelay(1);
  }
}

void HAL_TIM_PeriodElapsedCallback(TIM_HandleTypeDef *htim)
{
  if (htim->Instance == TIM6)
  {
    HAL_IncTick();
  }
}

void Error_Handler(void)
{
	__disable_irq();
	while (1)
	{
	}
}

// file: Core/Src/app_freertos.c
/* USER CODE BEGIN Header */
/**
  ******************************************************************************
  * File Name          : app_freertos.c
  * Description        : Code for freertos applications
  ******************************************************************************
  * @attention
  *
  * Copyright (c) 2026 STMicroelectronics.
  * All rights reserved.
  *
  * This software is licensed under terms that can be found in the LICENSE file
  * in the root directory of this software component.
  * If no LICENSE file comes with this software, it is provided AS-IS.
  *
  ******************************************************************************
  */
/* USER CODE END Header */

#include "FreeRTOS.h"
#include "task.h"
#include "main.h"
#include "stdio.h"
#include "shell.h"
/* USER CODE BEGIN Includes */
#include "power.h"
#include "motor.h"
#include "ota.h"
/* USER CODE END Includes */

/* USER CODE BEGIN FunctionPrototypes */
static void RobotTask(void *arg);
/* USER CODE END FunctionPrototypes */

/* Hook prototypes */
void vApplicationStackOverflowHook(xTaskHandle xTask, signed char *pcTaskName);
void vApplicationMallocFailedHook(void);

/* USER CODE BEGIN 4 */
__weak void vApplicationStackOverflowHook(xTaskHandle xTask, signed char *pcTaskName)
{
   /* Run time stack overflow checking is performed if
   configCHECK_FOR_STACK_OVERFLOW is defined to 1 or 2. This hook function is
   called if a stack overflow is detected. */
}
/* USER CODE END 4 */

/* USER CODE BEGIN 5 */
__weak void vApplicationMallocFailedHook(void)
{
   /* vApplicationMallocFailedHook() will only be called if
   configUSE_MALLOC_FAILED_HOOK is set to 1 in FreeRTOSConfig.h. It is a hook
   function that will get called if a call to pvPortMalloc() fails.
   pvPortMalloc() is called internally by the kernel whenever a task, queue,
   timer or semaphore is created. It is also called by various parts of the
   demo application. If heap_1.c or heap_2.c are used, then the size of the
   heap available to pvPortMalloc() is defined by configTOTAL_HEAP_SIZE in
   FreeRTOSConfig.h, and the xPortGetFreeHeapSize() API function can be used
   to query the size of free heap space that remains (although it does not
   provide information on how the remaining heap might be fragmented). */
}
/* USER CODE END 5 */

/* USER CODE BEGIN Application */
static void RobotTask(void *arg){
    (void)arg;
    for (;;){
        shell_process();
        ota_process();
        motor_update();
        power_button_process();
        vTaskDelay(pdMS_TO_TICKS(5));
    }
}

void App_FreeRTOS_Start(void){
    BaseType_t result;

    result = xTaskCreate(RobotTask,"robot",1024,NULL,tskIDLE_PRIORITY + 1,NULL);
    if (result != pdPASS)	printf("ERREUR creation RobotTask\r\n");
    else					printf("RobotTask creee\r\n");
}
/* USER CODE END Application */
